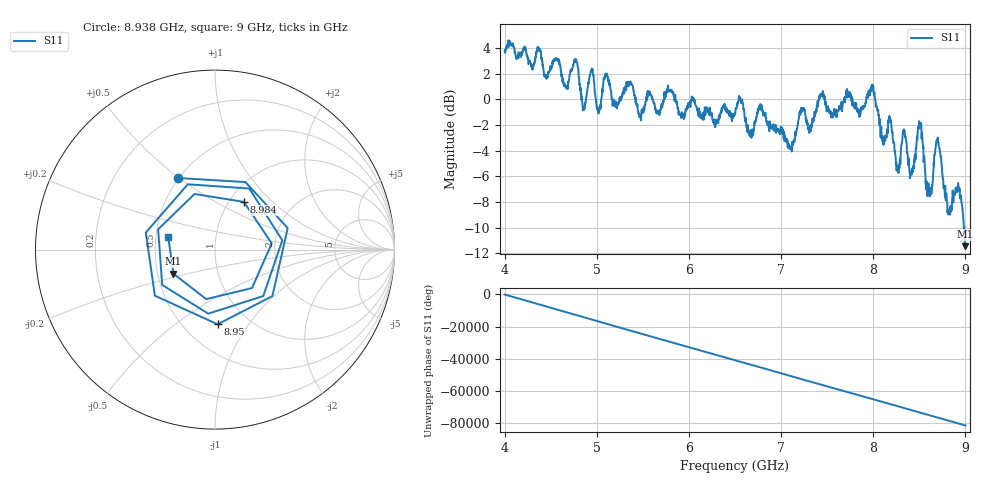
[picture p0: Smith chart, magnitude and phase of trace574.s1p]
! Created with skrf 1.8.0 (http://scikit-rf.org).
# Hz S RI R 50.0
!freq ReS11 ImS11
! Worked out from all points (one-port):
!   1601 points, 4 GHz to 9 GHz, reference 50 ohm
!   lowest |S11| = -11.4 dB at 8.997 GHz (marker M1), VSWR 1.73, Z = 30.2 - j8.78 ohm
!   |S11| at or under -10 dB: 8.983124 GHz to 8.987007 GHz (3.883 MHz wide, 0.0432 % of centre); 8.988263 GHz to end of sweep
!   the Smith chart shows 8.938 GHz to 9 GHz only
!   S11 on the Smith chart (normalised r, x): 8.938 GHz: 0.49, +0.49; 8.95 GHz: 0.72, -0.73; 8.984 GHz: 1.17, +0.69; 9 GHz: 0.58, +0.09
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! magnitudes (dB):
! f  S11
! 4 GHz  3.8
! 4.625 GHz  1.5
! 4.769 GHz  2.9
! 4.856 GHz  -0.8
! 4.941 GHz  2.3
! 5.016 GHz  -1.0
! 5.097 GHz  2.0
! 5.25 GHz  0.0
! 5.875 GHz  -0.6
! 6.5 GHz  -1.1
! 7.125 GHz  -3.4
! 7.225 GHz  -1.0
! 7.312 GHz  -2.3
! 7.441 GHz  0.3
! 7.75 GHz  0.2
! 7.994 GHz  0.9
! 8.103 GHz  -2.9
! 8.375 GHz  -4.5
! 8.422 GHz  -5.4
! 8.506 GHz  -2.2
! 8.594 GHz  -7.1
! 8.697 GHz  -3.2
! 8.825 GHz  -8.7
! 8.938 GHz  -7.0
! 8.95 GHz  -7.6
! 8.984 GHz  -10.2
! 8.997 GHz  -11.4
! 9 GHz  -11.4
